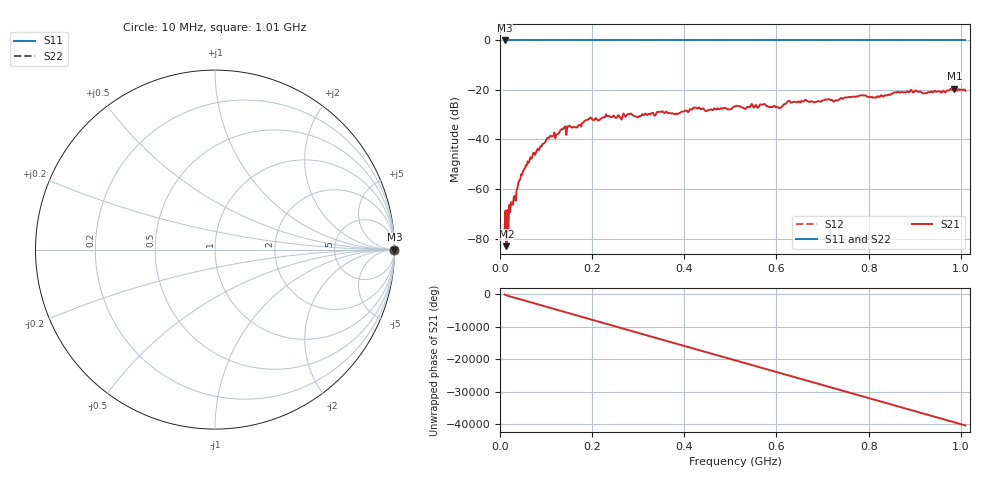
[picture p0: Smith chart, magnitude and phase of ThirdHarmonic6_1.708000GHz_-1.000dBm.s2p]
! 8/16/2025 8:32:36 PM
! C:\ANRITSUVNA\TEMP\TEMP.S2P
! CHANNEL.1
! TR.MEASUREMENT
! RAW.DATA
! RF.CORRECTION.OFF
! AVERAGING.OFF
! IF.BANDWIDTH: 5KHZ
! SWEEPTYPE:  FREQ.SWEEP(Linear)
! Reference Plane Port Info
! PORT:  PORT1  PORT2
! DISTANCE:  0  m  0  m
! TIME:  0  s  0  s
! PHASE.OFFSET:  0  deg.  0  deg.
! LOSS:  0  dB  0  dB
! REF.LOSS:  0  dB  0  dB
! REF.FREQ:  0  Hz  0  Hz
! Power Info
! POWER:  -20  dBm  -20  dBm
! EFF.POWER:  -20  dBm  -20  dBm
! SOURCE.ATTEN:  0  dB  0  dB
! TEST.ATTEN:  0  dB  0  dB
# GHZ S RI R 50.0
! FREQ.GHZ  S11RE  S11IM  S21RE  S21IM  S12RE  S12IM  S22RE  S22IM
!; PortSelection: Port_12
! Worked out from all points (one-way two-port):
!   501 points, 10 MHz to 1.01 GHz, reference 50 ohm
!   highest |S21| = -19.45 dB at 986 MHz (marker M1); lowest = -83.1 dB at 14 MHz (marker M2)
!   lowest |S11| = 0.0 dB at 10 MHz (marker M3)
!   |S11| at or under -10 dB: nowhere
!   |S22| runs from 0.0 to 0.0 dB; largest |S21 - S12| = 1.1
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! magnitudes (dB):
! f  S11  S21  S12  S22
! 10 MHz  0.0  -75.9  0.0  0.0
! 14 MHz  0.0  -83.1  0.0  0.0
! 24 MHz  0.0  -65.3  0.0  0.0
! 32 MHz  0.0  -62.7  0.0  0.0
! 44 MHz  0.0  -56.0  0.0  0.0
! 70 MHz  0.0  -47.0  0.0  0.0
! 106 MHz  0.0  -39.4  0.0  0.0
! 138 MHz  0.0  -35.4  0.0  0.0
! 178 MHz  0.0  -33.5  0.0  0.0
! 234 MHz  0.0  -30.5  0.0  0.0
! 300 MHz  0.0  -30.9  0.0  0.0
! 344 MHz  0.0  -28.9  0.0  0.0
! 382 MHz  0.0  -29.6  0.0  0.0
! 422 MHz  0.0  -27.1  0.0  0.0
! 450 MHz  0.0  -28.4  0.0  0.0
! 510 MHz  0.0  -26.6  0.0  0.0
! 606 MHz  0.0  -27.4  0.0  0.0
! 626 MHz  0.0  -24.4  0.0  0.0
! 678 MHz  0.0  -24.7  0.0  0.0
! 844 MHz  0.0  -21.9  0.0  0.0
! 986 MHz  0.0  -19.5  0.0  0.0
! 1.01 GHz  0.0  -20.3  0.0  0.0
